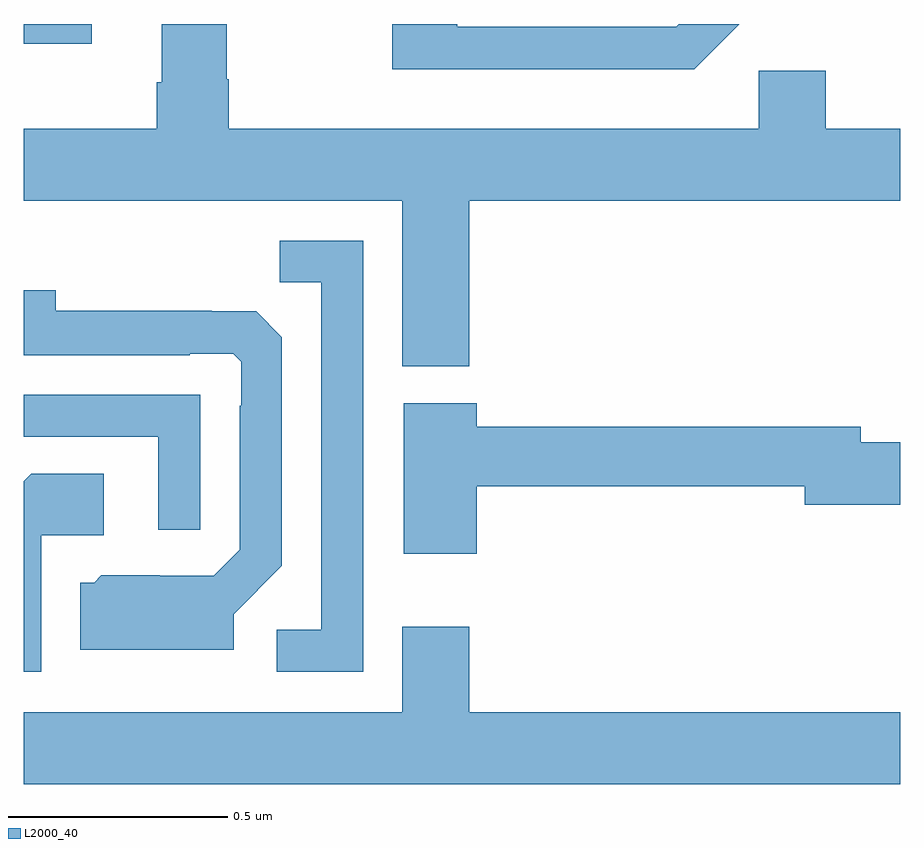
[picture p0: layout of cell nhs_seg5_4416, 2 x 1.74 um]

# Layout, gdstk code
import gdstk
lib = gdstk.Library(unit=1e-6, precision=1e-09)
def R(c, l, rs):  # rectangles x0, y0, x1, y1
    for r in rs: c.add(gdstk.rectangle(r[:2], r[2:], *l))
def P(c, l, *ps):  # polygons
    for p in ps: c.add(gdstk.Polygon(p, *l))
L2000_40 = (2000, 40)

nhs_seg5_4416 = lib.new_cell('nhs_seg5_4416')
R(nhs_seg5_4416, L2000_40, [(170,887.754,170.155,887.799)])
P(nhs_seg5_4416, L2000_40, [(171.633,887.799),(171.495,887.799),(171.489,887.793),(170.989,887.793),(170.989,887.799),(170.841,887.799),(170.841,887.696),(171.53,887.696)],
  [(171.017,887.396),(172,887.396),(172,887.56),(171.83,887.56),(171.83,887.692),(171.678,887.692),(171.678,887.56),(170.468,887.56),(170.468,887.673),(170.463,887.673),(170.463,887.798),(170.315,887.798),(170.315,887.666),(170.303,887.666),(170.303,887.56),(170,887.56),(170,887.396),(170.864,887.396),(170.864,887.018),(171.017,887.018)],
  [(170.775,887.304),(170.584,887.304),(170.584,887.209),(170.679,887.209),(170.679,886.416),(170.577,886.416),(170.577,886.32),(170.775,886.32)],
  [(170.479,886.452),(170.589,886.562),(170.589,887.084),(170.53,887.143),(170.429,887.143),(170.429,887.144),(170.073,887.144),(170.073,887.191),(170,887.191),(170,887.043),(170.378,887.043),(170.378,887.046),(170.478,887.046),(170.496,887.028),(170.496,886.928),(170.493,886.928),(170.493,886.599),(170.433,886.539),(170.31,886.539),(170.31,886.54),(170.176,886.54),(170.16,886.524),(170.129,886.524),(170.129,886.37),(170.479,886.37)],
  [(170.403,886.953),(170,886.953),(170,886.857),(170.307,886.857),(170.307,886.644),(170.403,886.644)],
  [(171.034,886.744),(171.782,886.744),(171.782,886.702),(172,886.702),(172,886.844),(171.91,886.844),(171.91,886.88),(171.034,886.88),(171.034,886.933),(170.867,886.933),(170.867,886.59),(171.034,886.59)],
  [(170.04,886.632),(170.182,886.632),(170.182,886.772),(170.017,886.772),(170,886.755),(170,886.32),(170.04,886.32)],
  [(172,886.228),(171.017,886.228),(171.017,886.423),(170.864,886.423),(170.864,886.228),(170,886.228),(170,886.064),(172,886.064)])

lib.write_gds('nhs_seg5_4416.gds')
